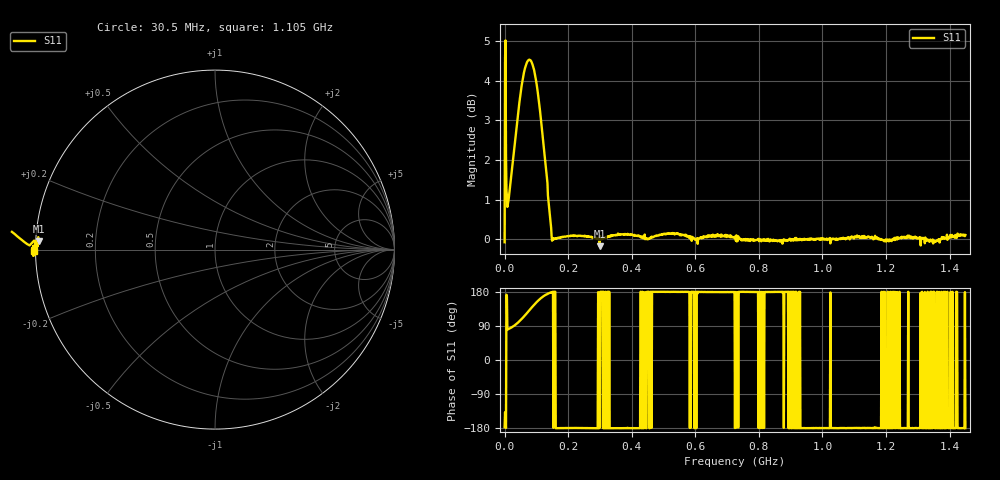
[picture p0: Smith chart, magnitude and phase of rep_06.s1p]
! Created with skrf 1.11.0 (http://scikit-rf.org).
# Hz S RI R 50.0
!freq ReS11 ImS11
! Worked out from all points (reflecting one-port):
!   1001 points, 50 kHz to 1.45 GHz, reference 50 ohm
!   lowest |S11| = -0.2 dB at 298.7 MHz (marker M1), VSWR 99.31, Z = 0.504 + j1.21 ohm
!   phase of S11 starts at -178 deg and turns -2 deg over the sweep
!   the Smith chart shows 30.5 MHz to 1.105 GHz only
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50000  -0.9905 -0.0417
8749700  0.1886 1.082
1.019965e7  0.1782 1.092
1.16496e7  0.167 1.103
1.599945e7  0.1357 1.144
2.61491e7  0.0405 1.254
3.48488e7  -0.0829 1.351
4.64484e7  -0.3103 1.453
5.51481e7  -0.5246 1.485
6.38478e7  -0.7587 1.455
7.399745e7  -1.02 1.337
8.7047e7  -1.276 1.069
9.86466e7  -1.386 0.775
1.073463e8  -1.391 0.5617
1.17496e8  -1.334 0.3507
1.261956e8  -1.259 0.2134
1.363453e8  -1.131 0.0988
1.43595e8  -1.061 0.041
1.522948e8  -0.9998 0.00189
1.812938e8  -1.007 -0.00643
2.987397e8  -0.9789 0.0474
3.625375e8  -1.015 -0.0015
5.437812e8  -1.017 0.00336
7.25025e8  -1.008 -0.00807
9.062688e8  -0.9987 0.00646
1.087512e9  -1.005 -0.00803
1.268756e9  -1.011 -0.00988
1.45e9  -1.012 -0.00427
